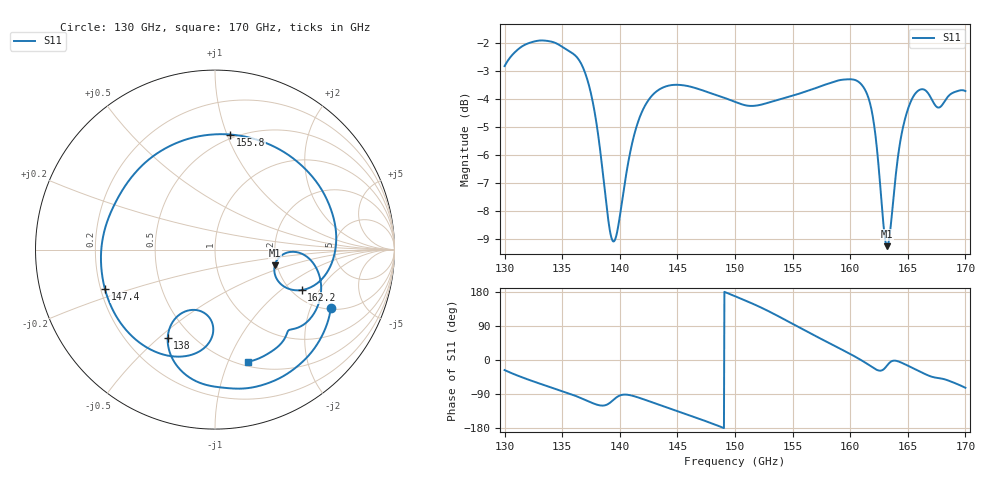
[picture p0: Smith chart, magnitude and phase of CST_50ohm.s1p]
! TOUCHSTONE file generated by CST MICROWAVE STUDIO
! Date and time: Fri Nov 20 16:04:35 2026
! Project name: Licensed_22_32_4x4.cst
! Parameters = {board_x_max=2.4; board_x_min=-3.12; eps_r=3.5; feed_width=0.1688; first_split_x=-2.9; inlet_rail_separation=0.225; inset_gap=0.02; inset_length=0.165; launch_length=0.5; loss_tangent=0.0027; match_length=0.14; match_start=0.17; match_width=0.045; mesh_box=32; mesh_near=22; metal_thic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
! Header version: 2024
! Port assignment regex: !\s*Touchstone port\s*([0-9]+)\s*=\s*(CST MWS port|CST DES external port|CST DES block port)\s*(.+)\s* \(\"(.*)\"\)(\s*mode\s*([0-9]+))?.*
! Touchstone port assignment:
! Touchstone port 1 = CST MWS port 1 ("50ohm_microstrip")
# GHz S RI R 50
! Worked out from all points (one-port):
!   1001 points, 130 GHz to 170 GHz, reference 50 ohm
!   lowest |S11| = -9.3 dB at 163.2 GHz (marker M1), VSWR 2.05, Z = 97.5 - j19.3 ohm
!   |S11| at or under -10 dB: nowhere
!   S11 on the Smith chart (normalised r, x): 130 GHz: 2.08, -2.81; 138 GHz: 0.37, -0.54; 147.4 GHz: 0.22, -0.17; 155.8 GHz: 0.47, +1.03; 162.2 GHz: 2.25, -1.42; 170 GHz: 0.55, -1.19
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130  0.6453 -0.323
132.56  0.433 -0.6706
135  0.103 -0.774
136.6  -0.1303 -0.72
138.04  -0.2635 -0.4931
139.04  -0.1607 -0.3426
139.48  -0.0865 -0.3407
140  -0.0249 -0.3885
140.92  -0.0268 -0.5082
142.28  -0.1699 -0.5943
145  -0.4714 -0.4737
147.36  -0.6133 -0.2198
150  -0.6105 0.1256
152.6  -0.4259 0.4486
155  -0.0609 0.6363
155.8  0.0847 0.6412
157.8  0.4252 0.5158
160  0.6574 0.1876
161.24  0.6543 -0.0644
162.24  0.4829 -0.2253
162.8  0.3528 -0.1767
163.2  0.3335 -0.0871
163.92  0.454 -0.0139
165  0.5839 -0.1542
165.8  0.5799 -0.2932
166.68  0.5004 -0.4132
168.64  0.3625 -0.5291
170  0.1863 -0.6241
